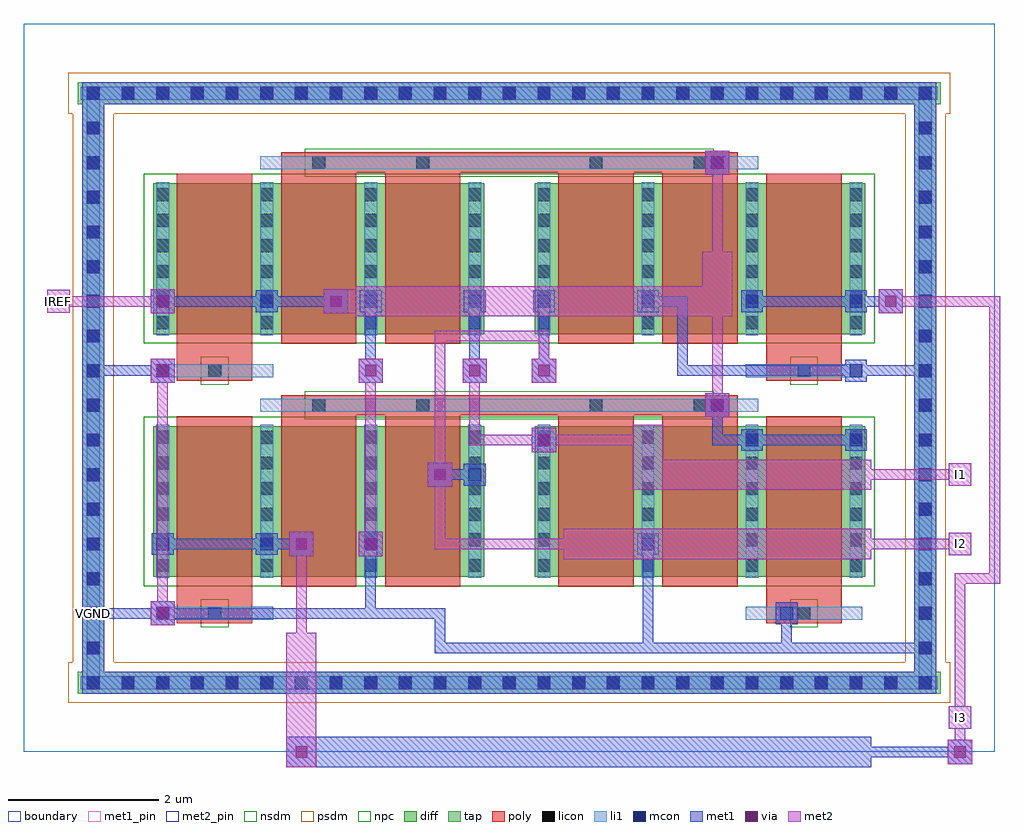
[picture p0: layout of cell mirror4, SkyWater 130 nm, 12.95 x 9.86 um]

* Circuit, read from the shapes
.subckt mirror4 I1 I2 I3 IREF VGND
XM1 I3 VGND I3 VGND sky130_fd_pr__nfet_01v8 w=2 l=1 m=2
XM2 IREF VGND IREF VGND sky130_fd_pr__nfet_01v8 w=2 l=1 m=2
XM3 VGND IREF I3 VGND sky130_fd_pr__nfet_01v8 w=2 l=1 m=2
XM4 VGND IREF IREF VGND sky130_fd_pr__nfet_01v8 w=2 l=1 m=2
XM5 I2 IREF VGND VGND sky130_fd_pr__nfet_01v8 w=2 l=1 m=2
XM6 I1 IREF VGND VGND sky130_fd_pr__nfet_01v8 w=2 l=1 m=2
.ends

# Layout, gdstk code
import gdstk
lib = gdstk.Library(unit=1e-6, precision=1e-09)
def R(c, l, rs):  # rectangles x0, y0, x1, y1
    for r in rs: c.add(gdstk.rectangle(r[:2], r[2:], *l))
def A(c, l, x, y, w, h, nx, ny, dx, dy):  # array of equal rectangles
    R(c, l, [(x+i*dx, y+j*dy, x+i*dx+w, y+j*dy+h) for i in range(nx) for j in range(ny)])
diff = (65, 20)
tap = (65, 44)
poly = (66, 20)
licon = (66, 44)
li1 = (67, 20)
mcon = (67, 44)
met1_pin = (68, 16)
met1 = (68, 20)
via = (68, 44)
met2_pin = (69, 16)
met2 = (69, 20)
nsdm = (93, 44)
psdm = (94, 20)
npc = (95, 20)
boundary = (235, 4)

mirror4 = lib.new_cell('mirror4')
R(mirror4, diff, [(1.715,2.325,6.105,4.325), (6.775,2.325,11.165,4.325), (1.715,5.545,6.105,7.545), (6.775,5.545,11.165,7.545)])
R(mirror4, tap, [(0.715,0.775,12.165,1.065), (0.775,0.775,1.065,8.885), (11.815,0.775,12.105,8.885), (0.715,8.595,12.165,8.885)])
R(mirror4, poly, [(2.03,1.705,3.03,1.975), (9.85,1.705,10.85,1.975), (2.03,1.84,3.03,4.455), (9.85,1.84,10.85,4.455), (3.41,2.195,4.41,4.6), (4.79,2.195,5.79,4.6), (7.09,2.195,8.09,4.6), (8.47,2.195,9.47,4.6), (3.41,4.465,9.47,4.735), (2.03,4.925,3.03,5.195), (9.85,4.925,10.85,5.195), (2.03,5.06,3.03,7.675), (9.85,5.06,10.85,7.675), (3.41,5.415,4.41,7.82), (4.79,5.415,5.79,7.82), (7.09,5.415,8.09,7.82), (8.47,5.415,9.47,7.82), (3.41,7.685,9.47,7.955)])
A(mirror4, licon, 0.835, 0.835, 0.17, 0.17, 25, 2, 0.46, 7.82)
A(mirror4, licon, 0.835, 1.295, 0.17, 0.17, 1, 16, 0, 0.46)
A(mirror4, licon, 11.875, 1.295, 0.17, 0.17, 1, 16, 0, 0.46)
A(mirror4, licon, 1.755, 2.39, 0.17, 0.17, 4, 6, 1.38, 0.34)
A(mirror4, licon, 6.815, 2.39, 0.17, 0.17, 4, 6, 1.38, 0.34)
A(mirror4, licon, 1.755, 5.61, 0.17, 0.17, 4, 6, 1.38, 0.34)
A(mirror4, licon, 6.815, 5.61, 0.17, 0.17, 4, 6, 1.38, 0.34)
R(mirror4, licon, [(2.445,1.755,2.615,1.925), (10.265,1.755,10.435,1.925), (3.825,4.515,3.995,4.685), (5.205,4.515,5.375,4.685), (7.505,4.515,7.675,4.685), (8.885,4.515,9.055,4.685), (2.445,4.975,2.615,5.145), (10.265,4.975,10.435,5.145), (3.825,7.735,3.995,7.905), (5.205,7.735,5.375,7.905), (7.505,7.735,7.675,7.905), (8.885,7.735,9.055,7.905)])
A(mirror4, li1, 1.755, 2.31, 0.17, 2.03, 4, 2, 1.38, 3.22)
A(mirror4, li1, 6.815, 2.31, 0.17, 2.03, 4, 2, 1.38, 3.22)
R(mirror4, li1, [(0.755,0.835,12.125,1.005), (0.835,0.835,1.005,8.825), (11.875,0.835,12.045,8.825), (1.755,1.755,3.305,1.925), (9.575,1.755,11.125,1.925), (3.135,4.515,9.745,4.685), (1.755,4.975,3.305,5.145), (9.575,4.975,11.125,5.145), (3.135,7.735,9.745,7.905), (0.755,8.655,12.125,8.825)])
A(mirror4, mcon, 0.835, 0.835, 0.17, 0.17, 25, 2, 0.46, 7.82)
A(mirror4, mcon, 0.835, 1.295, 0.17, 0.17, 1, 16, 0, 0.46)
A(mirror4, mcon, 11.875, 1.295, 0.17, 0.17, 1, 16, 0, 0.46)
A(mirror4, mcon, 1.755, 2.675, 0.17, 0.17, 3, 1, 1.38, 0)
A(mirror4, mcon, 1.755, 5.895, 0.17, 0.17, 4, 1, 1.38, 0)
A(mirror4, mcon, 6.815, 5.895, 0.17, 0.17, 4, 1, 1.38, 0)
R(mirror4, mcon, [(1.755,1.755,1.925,1.925), (10.035,1.755,10.205,1.925), (8.195,2.675,8.365,2.845), (5.895,3.595,6.065,3.765), (6.815,4.055,6.985,4.225), (9.575,4.055,9.745,4.225), (10.955,4.055,11.125,4.225), (9.115,4.515,9.285,4.685), (1.755,4.975,1.925,5.145), (10.955,4.975,11.125,5.145), (9.115,7.735,9.285,7.905)])
R(mirror4, met1_pin, [(0.85,1.77,0.99,1.91)])
A(mirror4, met1, 1.695, 2.615, 0.29, 0.29, 3, 1, 1.38, 0)
A(mirror4, met1, 1.695, 5.835, 0.29, 0.29, 4, 1, 1.38, 0)
A(mirror4, met1, 6.755, 5.835, 0.29, 0.29, 4, 1, 1.38, 0)
R(mirror4, met1, [(3.48,-0.2,3.88,0.2), (3.48,-0.2,11.24,0.2), (12.26,-0.16,12.58,0.16), (10.97,-0.07,12.49,0.07), (0.775,0.775,12.105,1.065), (0.775,0.775,1.065,8.885), (11.815,0.775,12.105,8.885), (5.45,1.31,5.59,1.91), (5.45,1.31,8.35,1.45), (8.21,1.31,8.35,2.83), (8.21,1.31,10.19,1.45), (10.05,1.31,10.19,1.91), (10.05,1.31,12.03,1.45), (11.89,1.31,12.03,5.13), (1.68,1.68,2,2), (1.695,1.695,1.985,1.985), (9.975,1.695,10.265,1.985), (0.85,1.77,1.91,1.91), (0.85,1.77,0.99,1.91), (1.77,1.77,4.67,1.91), (4.53,1.77,5.59,1.91), (4.53,1.77,4.67,2.83), (3.52,2.6,3.84,2.92), (4.44,2.6,4.76,2.92), (8.135,2.615,8.425,2.905), (1.77,2.69,3.29,2.83), (3.15,2.69,3.75,2.83), (5.36,3.52,5.68,3.84), (5.835,3.535,6.125,3.825), (5.45,3.61,6.05,3.75), (6.74,3.98,7.06,4.3), (6.755,3.995,7.045,4.285), (9.515,3.995,9.805,4.285), (10.895,3.995,11.185,4.285), (9.13,4.07,9.73,4.21), (9.13,4.07,9.27,4.67), (9.59,4.07,11.11,4.21), (9.04,4.44,9.36,4.76), (9.055,4.455,9.345,4.745), (1.68,4.9,2,5.22), (4.44,4.9,4.76,5.22), (5.82,4.9,6.14,5.22), (6.74,4.9,7.06,5.22), (1.695,4.915,1.985,5.205), (10.895,4.915,11.185,5.205), (0.85,4.99,1.91,5.13), (0.85,4.99,0.99,8.81), (4.53,4.99,4.67,6.05), (5.91,4.99,6.05,6.05), (6.83,4.99,6.97,6.05), (8.67,4.99,8.81,6.05), (8.67,4.99,11.11,5.13), (10.97,4.99,12.03,5.13), (1.68,5.82,2,6.14), (3.98,5.82,4.3,6.14), (11.34,5.82,11.66,6.14), (1.77,5.91,3.29,6.05), (3.15,5.91,4.21,6.05), (8.21,5.91,8.81,6.05), (9.59,5.91,11.11,6.05), (10.97,5.91,11.57,6.05), (9.04,7.66,9.36,7.98), (9.055,7.675,9.345,7.965), (0.775,8.595,12.105,8.885), (0.85,8.67,0.99,8.81)])
R(mirror4, via, [(3.605,-0.075,3.755,0.075), (12.345,-0.075,12.495,0.075), (1.765,1.765,1.915,1.915), (3.605,2.685,3.755,2.835), (4.525,2.685,4.675,2.835), (5.445,3.605,5.595,3.755), (6.825,4.065,6.975,4.215), (9.125,4.525,9.275,4.675), (1.765,4.985,1.915,5.135), (4.525,4.985,4.675,5.135), (5.905,4.985,6.055,5.135), (6.825,4.985,6.975,5.135), (1.765,5.905,1.915,6.055), (4.065,5.905,4.215,6.055), (11.425,5.905,11.575,6.055), (9.125,7.745,9.275,7.895)])
R(mirror4, met2_pin, [(12.27,0.31,12.57,0.61), (12.27,2.61,12.57,2.91), (12.27,3.53,12.57,3.83), (0.31,5.83,0.61,6.13)])
R(mirror4, met2, [(3.48,-0.2,3.88,1.58), (3.48,-0.2,3.88,0.2), (12.26,-0.16,12.58,0.16), (12.35,-0.07,12.49,0.53), (12.27,0.31,12.57,0.61), (12.35,0.39,12.49,0.53), (12.35,0.39,12.49,2.37), (3.61,1.31,3.75,2.83), (1.68,1.68,2,2), (1.77,1.77,1.91,5.13), (12.35,2.23,12.95,2.37), (12.81,2.23,12.95,6.05), (7.16,2.56,11.24,2.96), (3.52,2.6,3.84,2.92), (4.44,2.6,4.76,2.92), (12.27,2.61,12.57,2.91), (4.53,2.69,4.67,5.13), (5.45,2.69,5.59,3.75), (5.45,2.69,7.43,2.83), (10.97,2.69,12.49,2.83), (12.35,2.69,12.49,2.83), (8.08,3.48,8.48,4.34), (8.08,3.48,11.24,3.88), (5.36,3.52,5.68,3.84), (12.27,3.53,12.57,3.83), (5.45,3.61,5.59,5.59), (10.97,3.61,12.49,3.75), (12.35,3.61,12.49,3.75), (6.74,3.98,7.06,4.3), (5.91,4.07,6.97,4.21), (5.91,4.07,6.05,5.13), (6.83,4.07,8.35,4.21), (9.04,4.44,9.36,4.76), (9.13,4.53,9.27,6.05), (1.68,4.9,2,5.22), (4.44,4.9,4.76,5.22), (5.82,4.9,6.14,5.22), (6.74,4.9,7.06,5.22), (6.83,4.99,6.97,5.59), (5.45,5.45,6.97,5.59), (4.4,5.78,9.4,6.18), (9,5.78,9.4,6.64), (1.68,5.82,2,6.14), (3.98,5.82,4.3,6.14), (4.3,5.82,4.4,6.14), (11.34,5.82,11.66,6.14), (0.31,5.83,0.61,6.13), (0.39,5.91,0.53,6.05), (0.39,5.91,1.91,6.05), (4.07,5.91,4.67,6.05), (11.43,5.91,12.95,6.05), (9.13,6.37,9.27,7.89), (9.04,7.66,9.36,7.98)])
R(mirror4, nsdm, [(1.59,2.2,11.29,4.45), (1.59,5.42,11.29,7.67)])
R(mirror4, psdm, [(0.59,0.65,12.29,1.19), (0.65,1.19,1.19,8.47), (11.69,1.19,12.23,8.47), (0.59,8.47,12.29,9.01)])
R(mirror4, npc, [(2.345,1.655,2.715,2.025), (10.165,1.655,10.535,2.025), (3.725,4.415,9.155,4.785), (2.345,4.875,2.715,5.245), (10.165,4.875,10.535,5.245), (3.725,7.635,9.155,8.005)])
R(mirror4, boundary, [(0,0,12.88,9.66)])
mirror4.add(gdstk.Label('VGND', (0.92,1.84), layer=68, texttype=5))
mirror4.add(gdstk.Label('IREF', (0.46,5.98), layer=69, texttype=5))
mirror4.add(gdstk.Label('I1', (12.42,3.68), layer=69, texttype=5))
mirror4.add(gdstk.Label('I2', (12.42,2.76), layer=69, texttype=5))
mirror4.add(gdstk.Label('I3', (12.42,0.46), layer=69, texttype=5))
mirror4.add(gdstk.Label('VGND', (0.92,1.84), layer=68, texttype=16))
mirror4.add(gdstk.Label('IREF', (0.46,5.98), layer=69, texttype=16))
mirror4.add(gdstk.Label('I1', (12.42,3.68), layer=69, texttype=16))
mirror4.add(gdstk.Label('I2', (12.42,2.76), layer=69, texttype=16))
mirror4.add(gdstk.Label('I3', (12.42,0.46), layer=69, texttype=16))

lib.write_gds('mirror4.gds')
